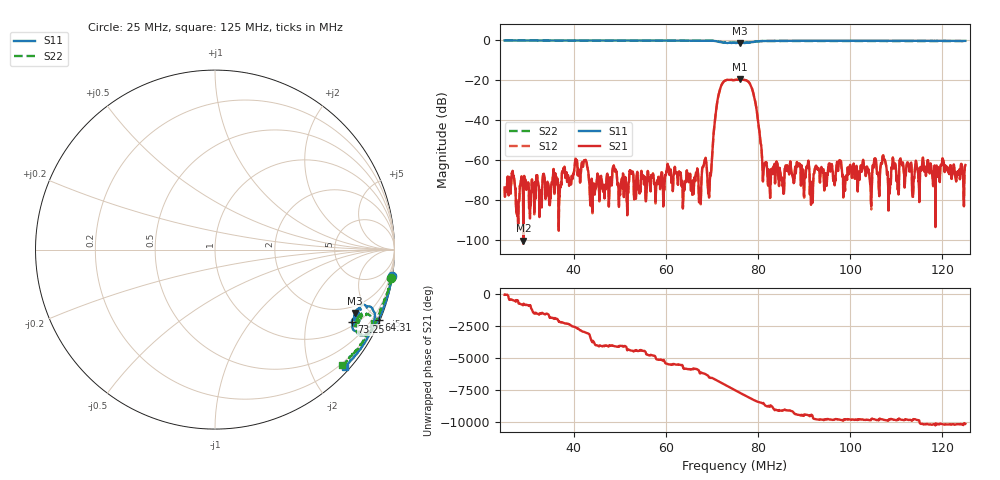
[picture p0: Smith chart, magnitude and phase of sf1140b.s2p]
# Hz S RI R 50
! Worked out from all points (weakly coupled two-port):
!   1601 points, 25 MHz to 125 MHz, reference 50 ohm
!   highest |S21| = -19.55 dB at 76 MHz (marker M1); lowest = -100.2 dB at 29.06 MHz (marker M2)
!   lowest |S11| = -1.3 dB at 76.12 MHz (marker M3), VSWR 12.96, Z = 76.8 - j204 ohm
!   |S11| at or under -10 dB: nowhere
!   |S22| runs from -1.1 to 0.0 dB; largest |S21 - S12| = 0.00028
!   S11 on the Smith chart (normalised r, x): 25 MHz: 0, -13; 64.31 MHz: 0.10, -4.86; 73.25 MHz: 1.17, -3.68; 125 MHz: 0.11, -2.60
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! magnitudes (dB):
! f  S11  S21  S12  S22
! 25 MHz  0.0  -73.6  -73.6  0.0
! 29.06 MHz  0.0  -100.2  -103.0  -0.1
! 41.69 MHz  0.0  -62.5  -62.5  -0.1
! 44 MHz  0.0  -72.6  -72.7  -0.1
! 48.88 MHz  0.0  -65.0  -65.0  -0.1
! 58.38 MHz  -0.1  -68.4  -68.2  -0.2
! 64.31 MHz  -0.1  -70.1  -70.2  -0.2
! 67.44 MHz  -0.1  -76.3  -76.1  -0.2
! 68.38 MHz  -0.1  -60.0  -60.1  -0.2
! 69.44 MHz  -0.1  -76.1  -76.5  -0.2
! 71.25 MHz  -0.6  -29.3  -29.3  -0.5
! 73.25 MHz  -1.3  -19.8  -19.7  -1.1
! 75 MHz  -1.2  -19.7  -19.7  -1.0
! 76 MHz  -1.3  -19.5  -19.5  -1.1
! 76.12 MHz  -1.3  -19.6  -19.6  -1.1
! 78.81 MHz  -0.9  -25.0  -25.0  -0.7
! 82.31 MHz  -0.3  -64.5  -64.5  -0.3
! 88.75 MHz  -0.2  -62.2  -62.3  -0.3
! 91.69 MHz  -0.2  -71.9  -71.7  -0.3
! 107.2 MHz  -0.2  -57.5  -57.5  -0.3
! 108.4 MHz  -0.2  -79.5  -79.3  -0.3
! 125 MHz  -0.2  -62.4  -62.4  -0.4
